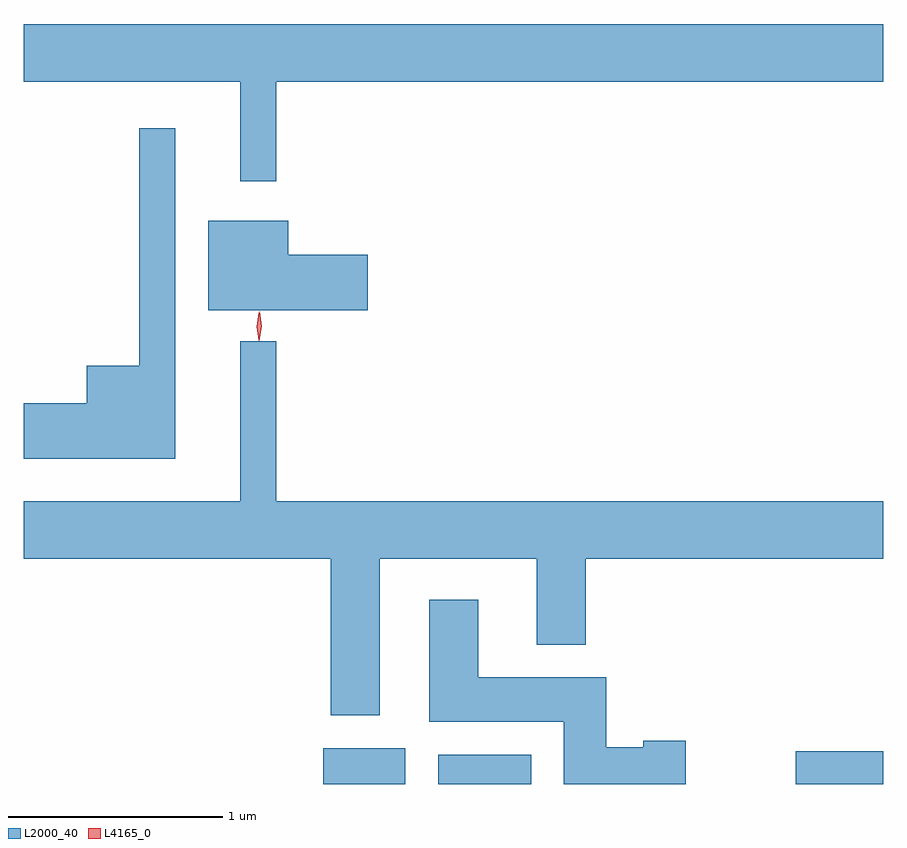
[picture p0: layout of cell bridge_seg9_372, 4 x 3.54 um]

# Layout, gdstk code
import gdstk
lib = gdstk.Library(unit=1e-6, precision=1e-09)
def R(c, l, rs):  # rectangles x0, y0, x1, y1
    for r in rs: c.add(gdstk.rectangle(r[:2], r[2:], *l))
def P(c, l, *ps):  # polygons
    for p in ps: c.add(gdstk.Polygon(p, *l))
L2000_40 = (2000, 40)
L4165_0 = (4165, 0)

bridge_seg9_372 = lib.new_cell('bridge_seg9_372')
R(bridge_seg9_372, L2000_40, [(984.146,1970.787,984.529,1970.954), (984.681,1970.787,985.114,1970.924), (986.346,1970.787,986.753,1970.939)])
P(bridge_seg9_372, L2000_40, [(983.929,1974.056),(986.753,1974.056),(986.753,1974.324),(982.753,1974.324),(982.753,1974.056),(983.761,1974.056),(983.761,1973.593),(983.929,1973.593)],
  [(983.459,1973.838),(983.291,1973.838),(983.291,1972.734),(983.046,1972.734),(983.046,1972.559),(982.753,1972.559),(982.753,1972.301),(983.459,1972.301)],
  [(984.354,1973.249),(983.984,1973.249),(983.984,1973.409),(983.611,1973.409),(983.611,1972.991),(984.354,1972.991)],
  [(984.409,1971.836),(985.141,1971.836),(985.141,1971.436),(985.369,1971.436),(985.369,1971.836),(986.753,1971.836),(986.753,1972.104),(983.929,1972.104),(983.929,1972.848),(983.761,1972.848),(983.761,1972.104),(982.753,1972.104),(982.753,1971.836),(984.181,1971.836),(984.181,1971.106),(984.409,1971.106)],
  [(985.834,1970.989),(985.636,1970.989),(985.636,1970.959),(985.464,1970.959),(985.464,1971.284),(984.869,1971.284),(984.869,1971.644),(984.641,1971.644),(984.641,1971.076),(985.266,1971.076),(985.266,1970.787),(985.834,1970.787)])
P(bridge_seg9_372, L4165_0, [(983.849,1972.85),(983.84,1972.918),(983.851,1972.985),(983.851,1972.986),(983.852,1972.985),(983.86,1972.918),(983.85,1972.85),(983.85,1972.85)],
  [(983.847,1972.853),(983.847,1972.853),(983.837,1972.916),(983.847,1972.98),(983.847,1972.98),(983.848,1972.98),(983.858,1972.916),(983.848,1972.853)])

lib.write_gds('bridge_seg9_372.gds')
